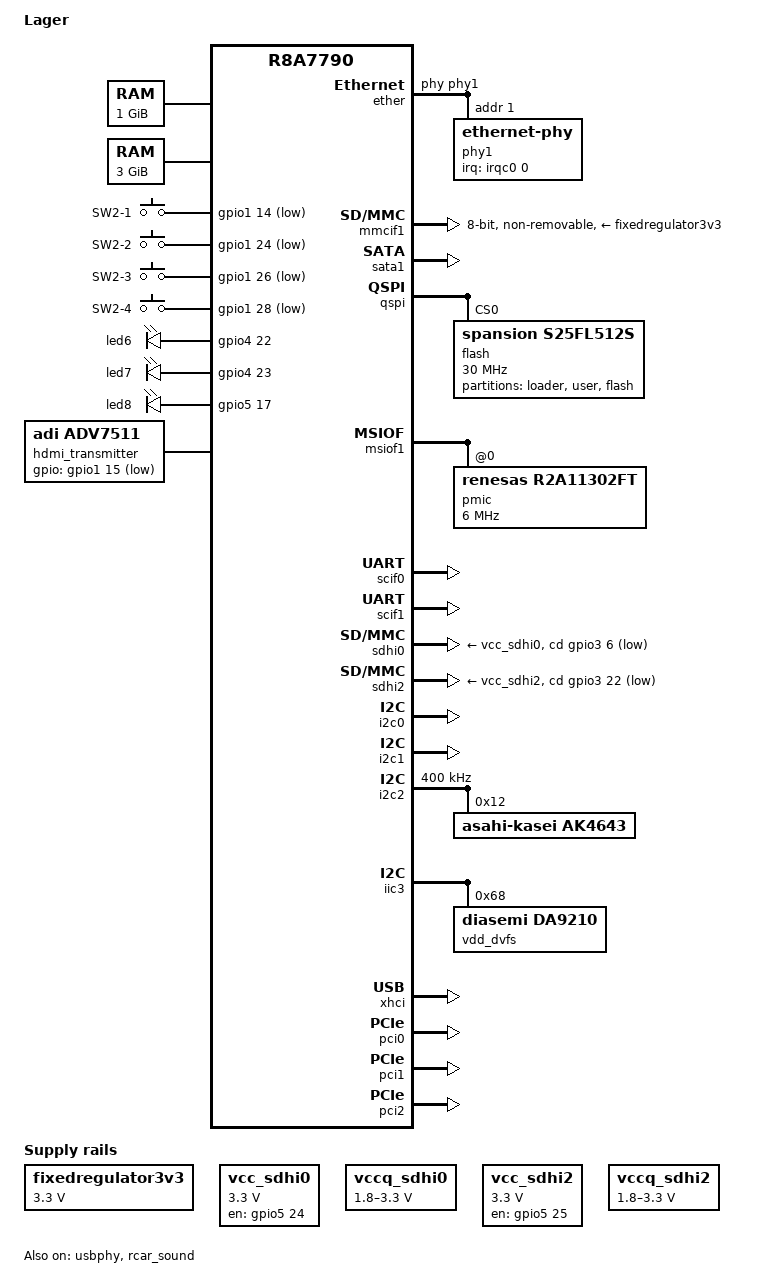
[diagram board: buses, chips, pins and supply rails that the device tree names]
/*
 * Device Tree Source for the Lager board
 *
 * Copyright (C) 2014 Renesas Electronics Corporation
 * Copyright (C) 2013-2014 Renesas Solutions Corp.
 * Copyright (C) 2014 Cogent Embedded, Inc.
 *
 * This file is licensed under the terms of the GNU General Public License
 * version 2.  This program is licensed "as is" without any warranty of any
 * kind, whether express or implied.
 */

/*
 * SSI-AK4643
 *
 * SW1: 1: AK4643
 *      2: CN22
 *      3: ADV7511
 *
 * This command is required when Playback/Capture
 *
 *    amixer set "LINEOUT Mixer DACL" on
 *    amixer set "DVC Out" 100%
 *    amixer set "DVC In" 100%
 *
 * You can use Mute
 *
 *    amixer set "DVC Out Mute" on
 *    amixer set "DVC In Mute" on
 */

/dts-v1/;
#include "r8a7790.dtsi"
#include <dt-bindings/gpio/gpio.h>
#include <dt-bindings/input/input.h>

/ {
	model = "Lager";
	compatible = "renesas,lager", "renesas,r8a7790";

	aliases {
		serial6 = &scif0;
		serial7 = &scif1;
	};

	chosen {
		bootargs = "console=ttySC6,38400 ignore_loglevel rw root=/dev/nfs ip=dhcp";
	};

	memory@40000000 {
		device_type = "memory";
		reg = <0 0x40000000 0 0x40000000>;
	};

	memory@140000000 {
		device_type = "memory";
		reg = <1 0x40000000 0 0xc0000000>;
	};

	lbsc {
		#address-cells = <1>;
		#size-cells = <1>;
	};

	gpio-keys {
		compatible = "gpio-keys";

		button@1 {
			linux,code = <KEY_1>;
			label = "SW2-1";
			gpio-key,wakeup;
			debounce-interval = <20>;
			gpios = <&gpio1 14 GPIO_ACTIVE_LOW>;
		};
		button@2 {
			linux,code = <KEY_2>;
			label = "SW2-2";
			gpio-key,wakeup;
			debounce-interval = <20>;
			gpios = <&gpio1 24 GPIO_ACTIVE_LOW>;
		};
		button@3 {
			linux,code = <KEY_3>;
			label = "SW2-3";
			gpio-key,wakeup;
			debounce-interval = <20>;
			gpios = <&gpio1 26 GPIO_ACTIVE_LOW>;
		};
		button@4 {
			linux,code = <KEY_4>;
			label = "SW2-4";
			gpio-key,wakeup;
			debounce-interval = <20>;
			gpios = <&gpio1 28 GPIO_ACTIVE_LOW>;
		};
	};

	leds {
		compatible = "gpio-leds";
		led6 {
			gpios = <&gpio4 22 GPIO_ACTIVE_HIGH>;
		};
		led7 {
			gpios = <&gpio4 23 GPIO_ACTIVE_HIGH>;
		};
		led8 {
			gpios = <&gpio5 17 GPIO_ACTIVE_HIGH>;
		};
	};

	fixedregulator3v3: fixedregulator@0 {
		compatible = "regulator-fixed";
		regulator-name = "fixed-3.3V";
		regulator-min-microvolt = <3300000>;
		regulator-max-microvolt = <3300000>;
		regulator-boot-on;
		regulator-always-on;
	};

	vcc_sdhi0: regulator@1 {
		compatible = "regulator-fixed";

		regulator-name = "SDHI0 Vcc";
		regulator-min-microvolt = <3300000>;
		regulator-max-microvolt = <3300000>;

		gpio = <&gpio5 24 GPIO_ACTIVE_HIGH>;
		enable-active-high;
	};

	vccq_sdhi0: regulator@2 {
		compatible = "regulator-gpio";

		regulator-name = "SDHI0 VccQ";
		regulator-min-microvolt = <1800000>;
		regulator-max-microvolt = <3300000>;

		gpios = <&gpio5 29 GPIO_ACTIVE_HIGH>;
		gpios-states = <1>;
		states = <3300000 1
			  1800000 0>;
	};

	vcc_sdhi2: regulator@3 {
		compatible = "regulator-fixed";

		regulator-name = "SDHI2 Vcc";
		regulator-min-microvolt = <3300000>;
		regulator-max-microvolt = <3300000>;

		gpio = <&gpio5 25 GPIO_ACTIVE_HIGH>;
		enable-active-high;
	};

	vccq_sdhi2: regulator@4 {
		compatible = "regulator-gpio";

		regulator-name = "SDHI2 VccQ";
		regulator-min-microvolt = <1800000>;
		regulator-max-microvolt = <3300000>;

		gpios = <&gpio5 30 GPIO_ACTIVE_HIGH>;
		gpios-states = <1>;
		states = <3300000 1
			  1800000 0>;
	};

	sound {
		compatible = "simple-audio-card";

		simple-audio-card,format = "left_j";
		simple-audio-card,bitclock-master = <&sndcodec>;
		simple-audio-card,frame-master = <&sndcodec>;

		sndcpu: simple-audio-card,cpu {
			sound-dai = <&rcar_sound>;
		};

		sndcodec: simple-audio-card,codec {
			sound-dai = <&ak4643>;
			system-clock-frequency = <11289600>;
		};
	};

	hdmi_transmitter: adv7511 {
		compatible = "adi,adv7511";
		gpios = <&gpio1 15 GPIO_ACTIVE_LOW>;

		adi,input-style = <0x02>;
		adi,input-id = <0x00>;
		adi,input-color-depth = <0x03>;
		adi,sync-pulse = <0x03>;
		adi,bit-justification = <0x01>;
		adi,up-conversion = <0x00>;
		adi,timing-generation-sequence = <0x00>;
		adi,vsync-polarity = <0x02>;
		adi,hsync-polarity = <0x02>;
		adi,clock-delay = <0x03>;
	};
};

&extal_clk {
	clock-frequency = <20000000>;
};

&pfc {
	pinctrl-0 = <&du_pins &usb0_pins &usb1_pins &usb2_pins &vin0_pins &vin1_pins>;
	pinctrl-names = "default";

	du_pins: du {
		renesas,groups = "du_rgb666", "du_sync_1", "du_clk_out_0";
		renesas,function = "du";
	};

	scif0_pins: serial6 {
		renesas,groups = "scif0_data";
		renesas,function = "scif0";
	};

	scif1_pins: serial7 {
		renesas,groups = "scif1_data";
		renesas,function = "scif1";
	};

	ether_pins: ether {
		renesas,groups = "eth_link", "eth_mdio", "eth_rmii";
		renesas,function = "eth";
	};

	avb_pins: avb {
		renesas,groups = "avb_mdio", "avb_gmii";
		renesas,function = "avb";
	};

	phy1_pins: phy1 {
		renesas,groups = "intc_irq0";
		renesas,function = "intc";
	};

	sdhi0_pins: sd0 {
		renesas,groups = "sdhi0_data4", "sdhi0_ctrl";
		renesas,function = "sdhi0";
	};

	sdhi2_pins: sd2 {
		renesas,groups = "sdhi2_data4", "sdhi2_ctrl";
		renesas,function = "sdhi2";
	};

	mmc1_pins: mmc1 {
		renesas,groups = "mmc1_data8", "mmc1_ctrl";
		renesas,function = "mmc1";
	};

	qspi_pins: spi0 {
		renesas,groups = "qspi_ctrl", "qspi_data4";
		renesas,function = "qspi";
	};

	msiof1_pins: spi2 {
		renesas,groups = "msiof1_clk", "msiof1_sync", "msiof1_rx",
				 "msiof1_tx";
		renesas,function = "msiof1";
	};

	usb0_pins: usb0 {
		renesas,groups = "usb0_ovc_vbus";
		renesas,function = "usb0";
	};

	usb1_pins: usb1 {
		renesas,groups = "usb1";
		renesas,function = "usb1";
	};

	usb2_pins: usb2 {
		renesas,groups = "usb2";
		renesas,function = "usb2";
	};

	sound_pins: sound {
		renesas,groups = "ssi0129_ctrl", "ssi0_data", "ssi1_data";
		renesas,function = "ssi";
	};
	sound_clk_pins: sound_clk {
		renesas,groups = "audio_clk_a";
		renesas,function = "audio_clk";
	};

	i2c1_pins: i2c1 {
		renesas,groups = "i2c1";
		renesas,function = "i2c1";
	};

	i2c2_pins: i2c2 {
		renesas,groups = "i2c2";
		renesas,function = "i2c2";
	};

	iic3_pins: iic3 {
		renesas,groups = "iic3";
		renesas,function = "iic3";
	};

	vin0_pins: vin0 {
		renesas,groups = "vin0_data24", "vin0_sync", "vin0_field",
				 "vin0_clkenb", "vin0_clk";
		renesas,function = "vin0";
	};

	vin1_pins: vin1 {
		renesas,groups = "vin1_data8", "vin1_clk";
		renesas,function = "vin1";
	};

	usb0_pins: usb0 {
		renesas,groups = "usb0";
		renesas,function = "usb0";
	};

	usb1_pins: usb1 {
		renesas,groups = "usb1";
		renesas,function = "usb1";
	};

	usb2_pins: usb2 {
		renesas,groups = "usb2";
		renesas,function = "usb2";
	};
};

&ether {
	pinctrl-0 = <&ether_pins &phy1_pins>;
	pinctrl-names = "default";

	phy-handle = <&phy1>;
	renesas,ether-link-active-low;
	status = "ok";

	phy1: ethernet-phy@1 {
		reg = <1>;
		interrupt-parent = <&irqc0>;
		interrupts = <0 IRQ_TYPE_LEVEL_LOW>;
		micrel,led-mode = <1>;
	};
};

&avb {
	pinctrl-0 = <&avb_pins>;
	pinctrl-names = "default";

	renesas,no-ether-link;
	renesas,phy = <0>;
	renesas,mii-lite-ignore-pins = <&gpio0 15 0
				        &gpio0 14 0
				        &gpio0 13 0
				        &gpio0 12 0
				        &gpio2 16 0
				        &gpio2 14 0
				        &gpio2 13 0
				        &gpio2 6 0
				        &gpio2 5 0
				        &gpio2 4 0
				        &gpio2 3 0
				        &gpio2 17 0
				        &gpio3 9 0>;
	phy-int-gpio = <&gpio2 15 GPIO_ACTIVE_LOW>;
	phy-reset-gpio = <&gpio4 10 0>;
	status = "disabled";
};

&mmcif1 {
	pinctrl-0 = <&mmc1_pins>;
	pinctrl-names = "default";

	vmmc-supply = <&fixedregulator3v3>;
	bus-width = <8>;
	non-removable;
	status = "okay";
};

&sata1 {
	status = "okay";
};

&qspi {
	pinctrl-0 = <&qspi_pins>;
	pinctrl-names = "default";

	status = "okay";

	flash: flash@0 {
		#address-cells = <1>;
		#size-cells = <1>;
		compatible = "spansion,s25fl512s";
		reg = <0>;
		spi-max-frequency = <30000000>;
		spi-tx-bus-width = <4>;
		spi-rx-bus-width = <4>;
		m25p,fast-read;
		spi-cpol;
		spi-cpha;

		partition@0 {
			label = "loader";
			reg = <0x00000000 0x00040000>;
			read-only;
		};
		partition@40000 {
			label = "user";
			reg = <0x00040000 0x00400000>;
			read-only;
		};
		partition@440000 {
			label = "flash";
			reg = <0x00440000 0x03bc0000>;
		};
	};
};

&msiof1 {
	pinctrl-0 = <&msiof1_pins>;
	pinctrl-names = "default";

	status = "okay";

	pmic: pmic@0 {
		compatible = "renesas,r2a11302ft";
		reg = <0>;
		spi-max-frequency = <6000000>;
		spi-cpol;
		spi-cpha;
	};
};

&scif0 {
	pinctrl-0 = <&scif0_pins>;
	pinctrl-names = "default";

	status = "okay";
};

&scif1 {
	pinctrl-0 = <&scif1_pins>;
	pinctrl-names = "default";

	status = "okay";
};

&sdhi0 {
	pinctrl-0 = <&sdhi0_pins>;
	pinctrl-names = "default";

	vmmc-supply = <&vcc_sdhi0>;
	vqmmc-supply = <&vccq_sdhi0>;
	cd-gpios = <&gpio3 6 GPIO_ACTIVE_LOW>;
	toshiba,mmc-wrprotect-disable;
	status = "okay";
};

&sdhi2 {
	pinctrl-0 = <&sdhi2_pins>;
	pinctrl-names = "default";

	vmmc-supply = <&vcc_sdhi2>;
	vqmmc-supply = <&vccq_sdhi2>;
	cd-gpios = <&gpio3 22 GPIO_ACTIVE_LOW>;
	toshiba,mmc-wrprotect-disable;
	status = "okay";
};

&cpu0 {
	cpu0-supply = <&vdd_dvfs>;
};

&i2c0	{
	status = "ok";
};

&i2c1	{
	status = "ok";
	pinctrl-0 = <&i2c1_pins>;
	pinctrl-names = "default";
};

&i2c2	{
	status = "ok";
	clock-frequency = <400000>;
	pinctrl-0 = <&i2c2_pins>;
	pinctrl-names = "default";

	ak4643: sound-codec@12 {
		#sound-dai-cells = <0>;
		compatible = "asahi-kasei,ak4643";
		reg = <0x12>;
	};
};

&iic3 {
	pinctrl-names = "default";
	pinctrl-0 = <&iic3_pins>;
	status = "okay";

	vdd_dvfs: regulator@68 {
		compatible = "diasemi,da9210";
		reg = <0x68>;

		regulator-min-microvolt = <1000000>;
		regulator-max-microvolt = <1000000>;
		regulator-boot-on;
		regulator-always-on;
	};
};

&usbphy {
	status = "okay";
};

&xhci {
	status = "okay";
};

&pci0 {
	status = "okay";
	pinctrl-0 = <&usb0_pins>;
	pinctrl-names = "default";
};

&pci1 {
	status = "okay";
	pinctrl-0 = <&usb1_pins>;
	pinctrl-names = "default";
};

&pci2 {
	status = "okay";
	pinctrl-0 = <&usb2_pins>;
	pinctrl-names = "default";
};

&rcar_sound {
	pinctrl-0 = <&sound_pins &sound_clk_pins>;
	pinctrl-names = "default";

	#sound-dai-cells = <0>;

	status = "okay";

	rcar_sound,dai {
		dai0 {
			playback = <&ssi0 &src0 &dvc0>;
			capture  = <&ssi1 &src1 &dvc1>;
		};
	};
};

&ssi1 {
	shared-pin;
};
